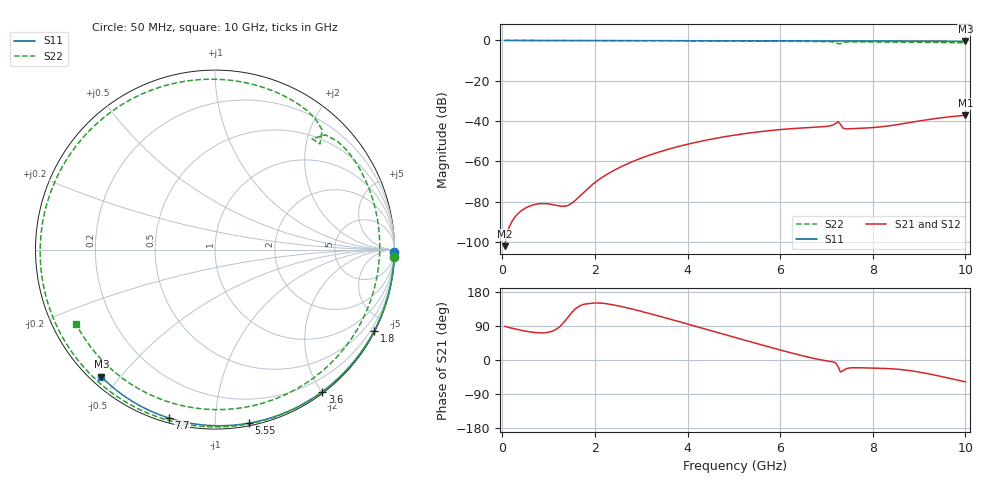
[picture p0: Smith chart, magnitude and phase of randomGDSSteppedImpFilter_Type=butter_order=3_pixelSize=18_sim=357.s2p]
! freq	dB(S11)	phase(S11)	dB(S12)	phase(S12)
!  dB(S21)	phase(S21)	dB(S22)	phase(S22)
!S-par simulation data
#  GHz  S  DB  R 50
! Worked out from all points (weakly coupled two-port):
!   200 points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, 50 MHz to 10 GHz, reference 50 ohm
!   highest |S21| = -37.11 dB at 10 GHz (marker M1); lowest = -102.0 dB at 50 MHz (marker M2)
!   lowest |S11| = -0.4 dB at 10 GHz (marker M3), VSWR 38.94, Z = 1.54 - j22.4 ohm
!   |S11| at or under -10 dB: nowhere
!   |S22| runs from -1.7 to 0.0 dB; largest |S21 - S12| = 0
!   S11 on the Smith chart (normalised r, x): 50 MHz: open; 1.8 GHz: 0.04, -4.16; 3.6 GHz: 0.02, -2.01; 5.55 GHz: 0.02, -1.21; 7.7 GHz: 0.02, -0.76; 10 GHz: 0.03, -0.45
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0.05  -0.00 -0.8  -101.98 88.7  -101.98 88.7  -0.00 -2.3
0.7  -0.01 -10.6  -81.34 72.6  -81.34 72.6  -0.04 -31.2
1.5  -0.03 -22.6  -80.71 125.4  -80.71 125.4  -0.08 -65.2
1.75  -0.03 -26.3  -75.58 146.5  -75.58 146.5  -0.09 -75.4
1.8  -0.03 -27.0  -74.51 147.9  -74.51 147.9  -0.09 -77.4
2.45  -0.05 -36.5  -63.94 144.2  -63.94 144.2  -0.12 -102.6
3.4  -0.07 -50.1  -55.19 115.3  -55.19 115.3  -0.16 -137.4
3.6  -0.07 -52.9  -53.83 108.6  -53.83 108.6  -0.17 -144.6
4.35  -0.09 -63.1  -49.68 82.9  -49.68 82.9  -0.21 -171.6
5.05  -0.11 -72.4  -46.82 58.7  -46.82 58.7  -0.26 161.8
5.55  -0.13 -78.9  -45.26 41.5  -45.26 41.5  -0.31 141.1
6.2  -0.16 -87.1  -43.81 19.9  -43.81 19.9  -0.39 110.6
6.7  -0.18 -93.3  -43.09 4.9  -43.09 4.9  -0.48 83.0
7.05  -0.20 -97.6  -42.44 -3.2  -42.44 -3.2  -0.59 60.3
7.25  -0.21 -100.0  -40.24 -16.9  -40.24 -16.9  -1.62 45.1
7.4  -0.22 -101.8  -43.79 -24.6  -43.79 -24.6  -0.81 41.7
7.7  -0.24 -105.3  -43.59 -20.4  -43.59 -20.4  -0.70 17.8
8.35  -0.29 -112.9  -42.33 -22.8  -42.33 -22.8  -0.84 -33.0
8.75  -0.32 -117.6  -40.89 -27.2  -40.89 -27.2  -0.93 -64.1
9.1  -0.35 -121.6  -39.57 -34.0  -39.57 -34.0  -1.00 -90.3
9.5  -0.39 -126.1  -38.28 -44.0  -38.28 -44.0  -1.06 -118.6
10  -0.45 -131.8  -37.11 -57.7  -37.11 -57.7  -1.13 -151.9
